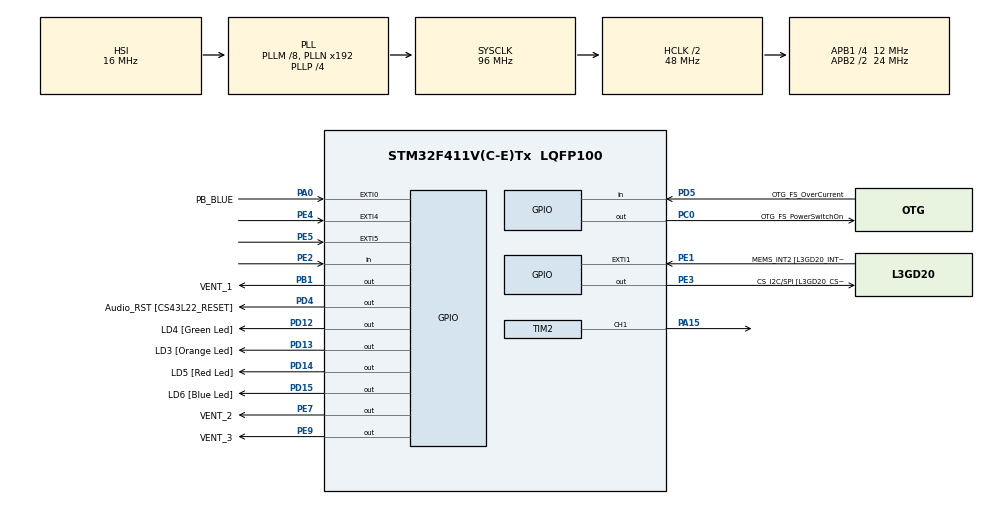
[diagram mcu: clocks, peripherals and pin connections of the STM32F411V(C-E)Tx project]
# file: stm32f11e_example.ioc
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FREERTOS.INCLUDE_vTaskDelayUntil=1
FREERTOS.Tasks01=defaultTask,0,128,StartDefaultTask,Default,NULL,Dynamic,NULL,NULL;motorPWM,0,128,motorPWMTask,Default,NULL,Dynamic,NULL,NULL
FREERTOS.configUSE_NEWLIB_REENTRANT=1
Mcu.Family=STM32F4
Mcu.Name=STM32F411V(C-E)Tx
Mcu.Package=LQFP100
NVIC.PriorityGroup=NVIC_PRIORITYGROUP_4
NVIC.TIM1_UP_TIM10_IRQn=true\:0\:0\:false\:false\:true\:false\:false\:true\:true
NVIC.TimeBase=TIM1_UP_TIM10_IRQn
NVIC.TimeBaseIP=TIM1
PA0-WKUP.GPIO_Label=PB_BLUE
PA0-WKUP.GPIO_ModeDefaultEXTI=GPIO_MODE_EVT_RISING
PA0-WKUP.GPIO_PuPd=GPIO_NOPULL
PA0-WKUP.Signal=GPXTI0
PA10.GPIO_Label=OTG_FS_ID
PA10.Signal=USB_OTG_FS_ID
PA11.GPIO_Label=OTG_FS_DM
PA11.Signal=USB_OTG_FS_DM
PA12.GPIO_Label=OTG_FS_DP
PA12.Signal=USB_OTG_FS_DP
PA13.GPIO_Label=SWDIO
PA13.Mode=Trace_Asynchronous_SW
PA13.Signal=SYS_JTMS-SWDIO
PA14.GPIO_Label=SWCLK
PA14.Mode=Trace_Asynchronous_SW
PA14.Signal=SYS_JTCK-SWCLK
PA15.Signal=S_TIM2_CH1_ETR
PA4.GPIO_Label=I2S3_WS [CS43L22_LRCK]
PA4.GPIO_Mode=GPIO_MODE_AF_PP
PA4.GPIO_PuPd=GPIO_NOPULL
PA4.GPIO_Speed=GPIO_SPEED_FREQ_LOW
PA4.Signal=I2S3_WS
PA5.GPIO_Label=SPI1_SCK [L3GD20_SC/SPC]
PA5.Signal=SPI1_SCK
PA6.GPIO_Label=SPI1_MISO [L3GD20_AS0/SDO]
PA6.Signal=SPI1_MISO
PA7.GPIO_Label=SPI1_MOSI [L3GD20_SDA/SDI/SDO]
PA7.Signal=SPI1_MOSI
PA9.GPIO_Label=VBUS_FS
PA9.Signal=USB_OTG_FS_VBUS
PB1.GPIO_Label=VENT_1
PB1.Signal=GPIO_Output
PB10.GPIO_Label=CLK_IN [MP45DT02_CLK]
PB10.Signal=I2S2_CK
PB12.Signal=I2S2_WS
PB3.GPIO_Label=SWO
PB3.Mode=Trace_Asynchronous_SW
PB3.Signal=SYS_JTDO-SWO
PB6.GPIO_Label=Audio_SCL [CS43L22_SCL]
PB6.GPIO_Mode=GPIO_MODE_AF_OD
PB6.GPIO_PuPd=GPIO_NOPULL
PB6.GPIO_Speed=GPIO_SPEED_FREQ_LOW
PB6.Signal=I2C1_SCL
PB9.GPIO_Label=Audio_SDA [CS43L22_SDA]
PB9.GPIO_Mode=GPIO_MODE_AF_OD
PB9.GPIO_PuPd=GPIO_NOPULL
PB9.GPIO_Speed=GPIO_SPEED_FREQ_LOW
PB9.Signal=I2C1_SDA
PC0.GPIO_Label=OTG_FS_PowerSwitchOn
PC0.PinState=GPIO_PIN_SET
PC0.Signal=GPIO_Output
PC10.GPIO_Label=I2S3_SCK [CS43L22_SCLK]
PC10.GPIO_Mode=GPIO_MODE_AF_PP
PC10.GPIO_PuPd=GPIO_NOPULL
PC10.GPIO_Speed=GPIO_SPEED_FREQ_LOW
PC10.Signal=I2S3_CK
PC12.GPIO_Label=I2S3_SD [CS43L22_SDIN]
PC12.GPIO_Mode=GPIO_MODE_AF_PP
PC12.GPIO_PuPd=GPIO_NOPULL
PC12.GPIO_Speed=GPIO_SPEED_FREQ_LOW
PC12.Signal=I2S3_SD
PC14-OSC32_IN.GPIO_Label=PC14-OSC32_IN
PC14-OSC32_IN.Signal=RCC_OSC32_IN
PC15-OSC32_OUT.GPIO_Label=PC15-OSC32_OUT
PC15-OSC32_OUT.Signal=RCC_OSC32_OUT
PC3.GPIO_Label=PDM_OUT [MP45DT02_DOUT]
PC3.Signal=I2S2_SD
PC7.GPIO_Label=I2S3_MCK [CS43L22_MCLK]
PC7.GPIO_Mode=GPIO_MODE_AF_PP
PC7.GPIO_PuPd=GPIO_NOPULL
PC7.GPIO_Speed=GPIO_SPEED_FREQ_LOW
PC7.Signal=I2S3_MCK
PD12.GPIO_Label=LD4 [Green Led]
PD12.GPIO_PuPd=GPIO_NOPULL
PD12.GPIO_Speed=GPIO_SPEED_FREQ_LOW
PD12.Signal=GPIO_Output
PD13.GPIO_Label=LD3 [Orange Led]
PD13.GPIO_PuPd=GPIO_NOPULL
PD13.GPIO_Speed=GPIO_SPEED_FREQ_LOW
PD13.Signal=GPIO_Output
PD14.GPIO_Label=LD5 [Red Led]
PD14.GPIO_PuPd=GPIO_NOPULL
PD14.GPIO_Speed=GPIO_SPEED_FREQ_LOW
PD14.Signal=GPIO_Output
PD15.GPIO_Label=LD6 [Blue Led]
PD15.GPIO_PuPd=GPIO_NOPULL
PD15.GPIO_Speed=GPIO_SPEED_FREQ_LOW
PD15.Signal=GPIO_Output
PD4.GPIO_Label=Audio_RST [CS43L22_RESET]
PD4.Signal=GPIO_Output
PD5.GPIO_Label=OTG_FS_OverCurrent
PD5.Signal=GPIO_Input
PE1.GPIO_Label=MEMS_INT2 [L3GD20_INT2]
PE1.GPIO_ModeDefaultEXTI=GPIO_MODE_EVT_RISING
PE1.Signal=GPXTI1
PE2.Signal=GPIO_Input
PE3.GPIO_Label=CS_I2C/SPI [L3GD20_CS_I2C/SPI]
PE3.Signal=GPIO_Output
PE4.GPIO_ModeDefaultEXTI=GPIO_MODE_EVT_RISING
PE4.Signal=GPXTI4
PE5.GPIO_ModeDefaultEXTI=GPIO_MODE_EVT_RISING
PE5.Signal=GPXTI5
PE7.GPIO_Label=VENT_2
PE7.Signal=GPIO_Output
PE9.GPIO_Label=VENT_3
PE9.Signal=GPIO_Output
PH0\ -\ OSC_IN.GPIO_Label=PH0-OSC_IN
PH0\ -\ OSC_IN.Signal=RCC_OSC_IN
PH1\ -\ OSC_OUT.GPIO_Label=PH1-OSC_OUT
PH1\ -\ OSC_OUT.Signal=RCC_OSC_OUT
ProjectManager.HeapSize=0x200
ProjectManager.StackSize=0x400
ProjectManager.TargetToolchain=STM32CubeIDE
RCC.48MHZClocksFreq_Value=48000000
RCC.AHBCLKDivider=RCC_SYSCLK_DIV2
RCC.AHBFreq_Value=48000000
RCC.APB1CLKDivider=RCC_HCLK_DIV4
RCC.APB1Freq_Value=12000000
RCC.APB1TimFreq_Value=24000000
RCC.APB2CLKDivider=RCC_HCLK_DIV2
RCC.APB2Freq_Value=24000000
RCC.APB2TimFreq_Value=48000000
RCC.CortexFreq_Value=48000000
RCC.HCLKFreq_Value=48000000
RCC.HSE_VALUE=8000000
RCC.HSI_VALUE=16000000
RCC.LSE_VALUE=32768
RCC.PLLI2SM=5
RCC.PLLI2SN=200
RCC.PLLM=8
RCC.PLLP=RCC_PLLP_DIV4
RCC.PLLQ=8
RCC.SYSCLKFreq_VALUE=96000000
RCC.SYSCLKSource=RCC_SYSCLKSOURCE_PLLCLK
RCC.VCOOutputFreq_Value=384000000
SH.S_TIM2_CH1_ETR.0=TIM2_CH1,PWM Generation1 CH1
TIM2.Channel-PWM\ Generation1\ CH1=TIM_CHANNEL_1
TIM2.Period=1000
TIM2.Prescaler=480
TIM2.Pulse-PWM\ Generation1\ CH1=50
VP_FREERTOS_VS_CMSIS_V1.Mode=CMSIS_V1
VP_SYS_VS_tim1.Mode=TIM1
VP_TIM2_VS_ClockSourceINT.Mode=Internal
board=STM32F411E-DISCO

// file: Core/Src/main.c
/* USER CODE BEGIN Header */
/**
  ******************************************************************************
  * @file           : main.c
  * @brief          : Main program body
  ******************************************************************************
  * @attention
  *
  * <h2><center>&copy; Copyright (c) 2022 STMicroelectronics.
  * All rights reserved.</center></h2>
  *
  * This software component is licensed by ST under Ultimate Liberty license
  * SLA0044, the "License"; You may not use this file except in compliance with
  * the License. You may obtain a copy of the License at:
  *                             www.st.com/SLA0044
  *
  ******************************************************************************
  */
/* USER CODE END Header */
#include "main.h"
#include "cmsis_os.h"

TIM_HandleTypeDef htim2;

osThreadId defaultTaskHandle;
osThreadId motorPWMHandle;

void SystemClock_Config(void);
static void MX_GPIO_Init(void);
static void MX_TIM2_Init(void);
void StartDefaultTask(void const * argument);
void motorPWMTask(void const * argument);

int main(void)
{

  /* MCU Configuration--------------------------------------------------------*/

  /* Reset of all peripherals, Initializes the Flash interface and the Systick. */
  HAL_Init();

  /* Configure the system clock */
  SystemClock_Config();

  /* Initialize all configured peripherals */
  MX_GPIO_Init();
  MX_TIM2_Init();

  /* Create the thread(s) */
  /* definition and creation of defaultTask */
  osThreadDef(defaultTask, StartDefaultTask, osPriorityNormal, 0, 128);
  defaultTaskHandle = osThreadCreate(osThread(defaultTask), NULL);

  /* definition and creation of motorPWM */
  osThreadDef(motorPWM, motorPWMTask, osPriorityNormal, 0, 128);
  motorPWMHandle = osThreadCreate(osThread(motorPWM), NULL);

  /* Start scheduler */
  osKernelStart();

  /* We should never get here as control is now taken by the scheduler */
  /* Infinite loop */
  while (1)
  {

  }
}

void SystemClock_Config(void)
{
  RCC_OscInitTypeDef RCC_OscInitStruct = {0};
  RCC_ClkInitTypeDef RCC_ClkInitStruct = {0};

  /** Configure the main internal regulator output voltage
  */
  __HAL_RCC_PWR_CLK_ENABLE();
  __HAL_PWR_VOLTAGESCALING_CONFIG(PWR_REGULATOR_VOLTAGE_SCALE1);

  /** Initializes the RCC Oscillators according to the specified parameters
  * in the RCC_OscInitTypeDef structure.
  */
  RCC_OscInitStruct.OscillatorType = RCC_OSCILLATORTYPE_HSI;
  RCC_OscInitStruct.HSIState = RCC_HSI_ON;
  RCC_OscInitStruct.HSICalibrationValue = RCC_HSICALIBRATION_DEFAULT;
  RCC_OscInitStruct.PLL.PLLState = RCC_PLL_ON;
  RCC_OscInitStruct.PLL.PLLSource = RCC_PLLSOURCE_HSI;
  RCC_OscInitStruct.PLL.PLLM = 8;
  RCC_OscInitStruct.PLL.PLLN = 192;
  RCC_OscInitStruct.PLL.PLLP = RCC_PLLP_DIV4;
  RCC_OscInitStruct.PLL.PLLQ = 8;
  if (HAL_RCC_OscConfig(&RCC_OscInitStruct) != HAL_OK)
  {
    Error_Handler();
  }

  /** Initializes the CPU, AHB and APB buses clocks
  */
  RCC_ClkInitStruct.ClockType = RCC_CLOCKTYPE_HCLK|RCC_CLOCKTYPE_SYSCLK
                              |RCC_CLOCKTYPE_PCLK1|RCC_CLOCKTYPE_PCLK2;
  RCC_ClkInitStruct.SYSCLKSource = RCC_SYSCLKSOURCE_PLLCLK;
  RCC_ClkInitStruct.AHBCLKDivider = RCC_SYSCLK_DIV2;
  RCC_ClkInitStruct.APB1CLKDivider = RCC_HCLK_DIV4;
  RCC_ClkInitStruct.APB2CLKDivider = RCC_HCLK_DIV2;

  if (HAL_RCC_ClockConfig(&RCC_ClkInitStruct, FLASH_LATENCY_1) != HAL_OK)
  {
    Error_Handler();
  }
}

static void MX_TIM2_Init(void)
{

  TIM_ClockConfigTypeDef sClockSourceConfig = {0};
  TIM_MasterConfigTypeDef sMasterConfig = {0};
  TIM_OC_InitTypeDef sConfigOC = {0};

  htim2.Instance = TIM2;
  htim2.Init.Prescaler = 480;
  htim2.Init.CounterMode = TIM_COUNTERMODE_UP;
  htim2.Init.Period = 1000;
  htim2.Init.ClockDivision = TIM_CLOCKDIVISION_DIV1;
  htim2.Init.AutoReloadPreload = TIM_AUTORELOAD_PRELOAD_DISABLE;
  if (HAL_TIM_Base_Init(&htim2) != HAL_OK)
  {
    Error_Handler();
  }
  sClockSourceConfig.ClockSource = TIM_CLOCKSOURCE_INTERNAL;
  if (HAL_TIM_ConfigClockSource(&htim2, &sClockSourceConfig) != HAL_OK)
  {
    Error_Handler();
  }
  if (HAL_TIM_PWM_Init(&htim2) != HAL_OK)
  {
    Error_Handler();
  }
  sMasterConfig.MasterOutputTrigger = TIM_TRGO_RESET;
  sMasterConfig.MasterSlaveMode = TIM_MASTERSLAVEMODE_DISABLE;
  if (HAL_TIMEx_MasterConfigSynchronization(&htim2, &sMasterConfig) != HAL_OK)
  {
    Error_Handler();
  }
  sConfigOC.OCMode = TIM_OCMODE_PWM1;
  sConfigOC.Pulse = 50;
  sConfigOC.OCPolarity = TIM_OCPOLARITY_HIGH;
  sConfigOC.OCFastMode = TIM_OCFAST_DISABLE;
  if (HAL_TIM_PWM_ConfigChannel(&htim2, &sConfigOC, TIM_CHANNEL_1) != HAL_OK)
  {
    Error_Handler();
  }
  HAL_TIM_MspPostInit(&htim2);

}

static void MX_GPIO_Init(void)
{
  GPIO_InitTypeDef GPIO_InitStruct = {0};

  /* GPIO Ports Clock Enable */
  __HAL_RCC_GPIOE_CLK_ENABLE();
  __HAL_RCC_GPIOC_CLK_ENABLE();
  __HAL_RCC_GPIOH_CLK_ENABLE();
  __HAL_RCC_GPIOA_CLK_ENABLE();
  __HAL_RCC_GPIOB_CLK_ENABLE();
  __HAL_RCC_GPIOD_CLK_ENABLE();

  /*Configure GPIO pin Output Level */
  HAL_GPIO_WritePin(GPIOE, CS_I2C_SPI_Pin|VENT_2_Pin|VENT_3_Pin, GPIO_PIN_RESET);

  /*Configure GPIO pin Output Level */
  HAL_GPIO_WritePin(OTG_FS_PowerSwitchOn_GPIO_Port, OTG_FS_PowerSwitchOn_Pin, GPIO_PIN_SET);

  /*Configure GPIO pin Output Level */
  HAL_GPIO_WritePin(VENT_1_GPIO_Port, VENT_1_Pin, GPIO_PIN_RESET);

  /*Configure GPIO pin Output Level */
  HAL_GPIO_WritePin(GPIOD, LD4_Pin|LD3_Pin|LD5_Pin|LD6_Pin
                          |Audio_RST_Pin, GPIO_PIN_RESET);

  /*Configure GPIO pin : PE2 */
  GPIO_InitStruct.Pin = GPIO_PIN_2;
  GPIO_InitStruct.Mode = GPIO_MODE_INPUT;
  GPIO_InitStruct.Pull = GPIO_NOPULL;
  HAL_GPIO_Init(GPIOE, &GPIO_InitStruct);

  /*Configure GPIO pins : CS_I2C_SPI_Pin VENT_2_Pin VENT_3_Pin */
  GPIO_InitStruct.Pin = CS_I2C_SPI_Pin|VENT_2_Pin|VENT_3_Pin;
  GPIO_InitStruct.Mode = GPIO_MODE_OUTPUT_PP;
  GPIO_InitStruct.Pull = GPIO_NOPULL;
  GPIO_InitStruct.Speed = GPIO_SPEED_FREQ_LOW;
  HAL_GPIO_Init(GPIOE, &GPIO_InitStruct);

  /*Configure GPIO pins : PE4 PE5 MEMS_INT2_Pin */
  GPIO_InitStruct.Pin = GPIO_PIN_4|GPIO_PIN_5|MEMS_INT2_Pin;
  GPIO_InitStruct.Mode = GPIO_MODE_EVT_RISING;
  GPIO_InitStruct.Pull = GPIO_NOPULL;
  HAL_GPIO_Init(GPIOE, &GPIO_InitStruct);

  /*Configure GPIO pin : OTG_FS_PowerSwitchOn_Pin */
  GPIO_InitStruct.Pin = OTG_FS_PowerSwitchOn_Pin;
  GPIO_InitStruct.Mode = GPIO_MODE_OUTPUT_PP;
  GPIO_InitStruct.Pull = GPIO_NOPULL;
  GPIO_InitStruct.Speed = GPIO_SPEED_FREQ_LOW;
  HAL_GPIO_Init(OTG_FS_PowerSwitchOn_GPIO_Port, &GPIO_InitStruct);

  /*Configure GPIO pin : PDM_OUT_Pin */
  GPIO_InitStruct.Pin = PDM_OUT_Pin;
  GPIO_InitStruct.Mode = GPIO_MODE_AF_PP;
  GPIO_InitStruct.Pull = GPIO_NOPULL;
  GPIO_InitStruct.Speed = GPIO_SPEED_FREQ_LOW;
  GPIO_InitStruct.Alternate = GPIO_AF5_SPI2;
  HAL_GPIO_Init(PDM_OUT_GPIO_Port, &GPIO_InitStruct);

  /*Configure GPIO pin : PB_BLUE_Pin */
  GPIO_InitStruct.Pin = PB_BLUE_Pin;
  GPIO_InitStruct.Mode = GPIO_MODE_EVT_RISING;
  GPIO_InitStruct.Pull = GPIO_NOPULL;
  HAL_GPIO_Init(PB_BLUE_GPIO_Port, &GPIO_InitStruct);

  /*Configure GPIO pin : I2S3_WS_Pin */
  GPIO_InitStruct.Pin = I2S3_WS_Pin;
  GPIO_InitStruct.Mode = GPIO_MODE_AF_PP;
  GPIO_InitStruct.Pull = GPIO_NOPULL;
  GPIO_InitStruct.Speed = GPIO_SPEED_FREQ_LOW;
  GPIO_InitStruct.Alternate = GPIO_AF6_SPI3;
  HAL_GPIO_Init(I2S3_WS_GPIO_Port, &GPIO_InitStruct);

  /*Configure GPIO pins : SPI1_SCK_Pin SPI1_MISO_Pin SPI1_MOSI_Pin */
  GPIO_InitStruct.Pin = SPI1_SCK_Pin|SPI1_MISO_Pin|SPI1_MOSI_Pin;
  GPIO_InitStruct.Mode = GPIO_MODE_AF_PP;
  GPIO_InitStruct.Pull = GPIO_NOPULL;
  GPIO_InitStruct.Speed = GPIO_SPEED_FREQ_VERY_HIGH;
  GPIO_InitStruct.Alternate = GPIO_AF5_SPI1;
  HAL_GPIO_Init(GPIOA, &GPIO_InitStruct);

  /*Configure GPIO pin : VENT_1_Pin */
  GPIO_InitStruct.Pin = VENT_1_Pin;
  GPIO_InitStruct.Mode = GPIO_MODE_OUTPUT_PP;
  GPIO_InitStruct.Pull = GPIO_NOPULL;
  GPIO_InitStruct.Speed = GPIO_SPEED_FREQ_LOW;
  HAL_GPIO_Init(VENT_1_GPIO_Port, &GPIO_InitStruct);

  /*Configure GPIO pins : CLK_IN_Pin PB12 */
  GPIO_InitStruct.Pin = CLK_IN_Pin|GPIO_PIN_12;
  GPIO_InitStruct.Mode = GPIO_MODE_AF_PP;
  GPIO_InitStruct.Pull = GPIO_NOPULL;
  GPIO_InitStruct.Speed = GPIO_SPEED_FREQ_LOW;
  GPIO_InitStruct.Alternate = GPIO_AF5_SPI2;
  HAL_GPIO_Init(GPIOB, &GPIO_InitStruct);

  /*Configure GPIO pins : LD4_Pin LD3_Pin LD5_Pin LD6_Pin
                           Audio_RST_Pin */
  GPIO_InitStruct.Pin = LD4_Pin|LD3_Pin|LD5_Pin|LD6_Pin
                          |Audio_RST_Pin;
  GPIO_InitStruct.Mode = GPIO_MODE_OUTPUT_PP;
  GPIO_InitStruct.Pull = GPIO_NOPULL;
  GPIO_InitStruct.Speed = GPIO_SPEED_FREQ_LOW;
  HAL_GPIO_Init(GPIOD, &GPIO_InitStruct);

  /*Configure GPIO pins : I2S3_MCK_Pin I2S3_SCK_Pin I2S3_SD_Pin */
  GPIO_InitStruct.Pin = I2S3_MCK_Pin|I2S3_SCK_Pin|I2S3_SD_Pin;
  GPIO_InitStruct.Mode = GPIO_MODE_AF_PP;
  GPIO_InitStruct.Pull = GPIO_NOPULL;
  GPIO_InitStruct.Speed = GPIO_SPEED_FREQ_LOW;
  GPIO_InitStruct.Alternate = GPIO_AF6_SPI3;
  HAL_GPIO_Init(GPIOC, &GPIO_InitStruct);

  /*Configure GPIO pin : VBUS_FS_Pin */
  GPIO_InitStruct.Pin = VBUS_FS_Pin;
  GPIO_InitStruct.Mode = GPIO_MODE_INPUT;
  GPIO_InitStruct.Pull = GPIO_NOPULL;
  HAL_GPIO_Init(VBUS_FS_GPIO_Port, &GPIO_InitStruct);

  /*Configure GPIO pins : OTG_FS_ID_Pin OTG_FS_DM_Pin OTG_FS_DP_Pin */
  GPIO_InitStruct.Pin = OTG_FS_ID_Pin|OTG_FS_DM_Pin|OTG_FS_DP_Pin;
  GPIO_InitStruct.Mode = GPIO_MODE_AF_PP;
  GPIO_InitStruct.Pull = GPIO_NOPULL;
  GPIO_InitStruct.Speed = GPIO_SPEED_FREQ_VERY_HIGH;
  GPIO_InitStruct.Alternate = GPIO_AF10_OTG_FS;
  HAL_GPIO_Init(GPIOA, &GPIO_InitStruct);

  /*Configure GPIO pin : OTG_FS_OverCurrent_Pin */
  GPIO_InitStruct.Pin = OTG_FS_OverCurrent_Pin;
  GPIO_InitStruct.Mode = GPIO_MODE_INPUT;
  GPIO_InitStruct.Pull = GPIO_NOPULL;
  HAL_GPIO_Init(OTG_FS_OverCurrent_GPIO_Port, &GPIO_InitStruct);

  /*Configure GPIO pins : Audio_SCL_Pin Audio_SDA_Pin */
  GPIO_InitStruct.Pin = Audio_SCL_Pin|Audio_SDA_Pin;
  GPIO_InitStruct.Mode = GPIO_MODE_AF_OD;
  GPIO_InitStruct.Pull = GPIO_NOPULL;
  GPIO_InitStruct.Speed = GPIO_SPEED_FREQ_LOW;
  GPIO_InitStruct.Alternate = GPIO_AF4_I2C1;
  HAL_GPIO_Init(GPIOB, &GPIO_InitStruct);

}

void StartDefaultTask(void const * argument)
{
  for(;;)
  {
    osDelay(1);
  }
}

void motorPWMTask(void const * argument)
{
  /* USER CODE BEGIN motorPWMTask */
  // extra 3.3V
  HAL_GPIO_WritePin(VENT_1_GPIO_Port, VENT_1_Pin, 1);
  HAL_GPIO_WritePin(VENT_2_GPIO_Port, VENT_2_Pin, 1);
  HAL_GPIO_WritePin(VENT_3_GPIO_Port, VENT_3_Pin, 1);

  // pwm start, NOTE:
  // CCR1 = 25 for 0 degrees
  // CCR1 = 58 for 90 degrees
  // CCR1 = 92 for 180 degrees
  HAL_TIM_PWM_Start(&htim2, TIM_CHANNEL_1);
  htim2.Instance->CCR1 = 25;

  uint32_t prevWakeTime = osKernelSysTick();
  uint16_t counter = 0;
  for (;;)
  {
    if (HAL_GPIO_ReadPin(PB_BLUE_GPIO_Port, PB_BLUE_Pin) == 1) {
      // handle push button press
      htim2.Instance->CCR1 = 58;
      counter = 5;
    }
    else if (counter == 5) {
      // reset to original CCR1 when button released
      htim2.Instance->CCR1 = 25;
      counter = 0;
    }

    switch (counter)
    {
      case 0:
        HAL_GPIO_TogglePin(LD3_GPIO_Port, LD3_Pin);
        counter = 1;
        break;

      case 1:
        HAL_GPIO_TogglePin(LD4_GPIO_Port, LD4_Pin);
        counter = 2;
        break;

      case 2:
        HAL_GPIO_TogglePin(LD6_GPIO_Port, LD6_Pin);
        counter = 3;
        break;

      case 3:
        HAL_GPIO_TogglePin(LD5_GPIO_Port, LD5_Pin);
        counter = 0;
        break;

      case 5:
        // case for moving servo arm, all LEDs on to verify
        HAL_GPIO_WritePin(LD3_GPIO_Port, LD3_Pin, 1);
        HAL_GPIO_WritePin(LD4_GPIO_Port, LD4_Pin, 1);
        HAL_GPIO_WritePin(LD5_GPIO_Port, LD5_Pin, 1);
        HAL_GPIO_WritePin(LD6_GPIO_Port, LD6_Pin, 1);
        counter = 5;
        break;

      default:
        break;
    }

    osDelayUntil(&prevWakeTime, 250);
  }
  /* USER CODE END motorPWMTask */
}

void HAL_TIM_PeriodElapsedCallback(TIM_HandleTypeDef *htim)
{
  if (htim->Instance == TIM1) {
    HAL_IncTick();
  }
}

void Error_Handler(void)
{
}
